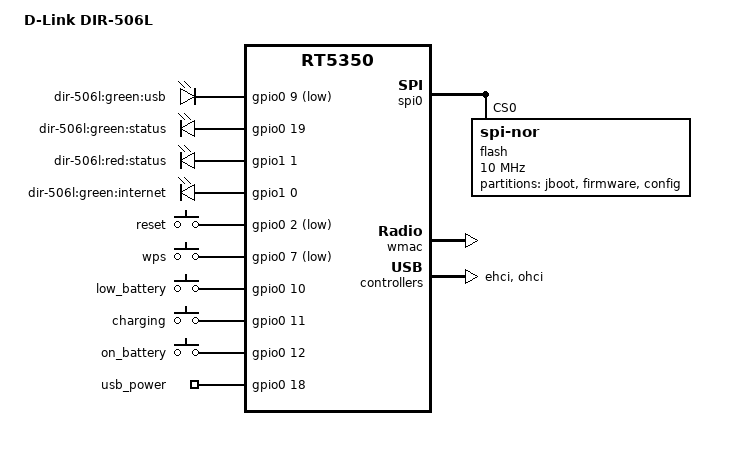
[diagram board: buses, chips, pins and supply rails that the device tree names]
// SPDX-License-Identifier: BSD-2-Clause
/dts-v1/;

#include "rt5350.dtsi"

#include <dt-bindings/gpio/gpio.h>
#include <dt-bindings/input/input.h>

/ {
	compatible = "dlink,dir-506l", "ralink,rt5350-soc";
	model = "D-Link DIR-506L";

	aliases {
		led-boot = &led_status_green;
		led-failsafe = &led_status_red;
		led-running = &led_status_green;
		led-upgrade = &led_status_red;
	};

	gpio-leds {
		compatible = "gpio-leds";

		usb {
			label = "dir-506l:green:usb";
			gpios = <&gpio0 9 GPIO_ACTIVE_LOW>;
		};

		led_status_green: status_green {
			label = "dir-506l:green:status";
			gpios = <&gpio0 19 GPIO_ACTIVE_HIGH>;
		};

		led_status_red: status_red {
			label = "dir-506l:red:status";
			gpios = <&gpio1 1 GPIO_ACTIVE_HIGH>;
		};

		internet {
			label = "dir-506l:green:internet";
			gpios = <&gpio1 0 GPIO_ACTIVE_HIGH>;
		};
	};

	gpio-keys-polled {
		compatible = "gpio-keys-polled";
		poll-interval = <20>;

		reset {
			label = "reset";
			gpios = <&gpio0 2 GPIO_ACTIVE_LOW>;
			linux,code = <KEY_RESTART>;
		};

		wps {
			label = "wps";
			gpios = <&gpio0 7 GPIO_ACTIVE_LOW>;
			linux,code = <KEY_WPS_BUTTON>;
		};

		low_battery {
			label = "low_battery";
			gpios = <&gpio0 10 GPIO_ACTIVE_HIGH>;
			linux,code = <BTN_0>;
		};

		charging {
			label = "charging";
			gpios = <&gpio0 11 GPIO_ACTIVE_HIGH>;
			linux,code = <BTN_1>;
		};

		on_battery {
			label = "on_battery";
			gpios = <&gpio0 12 GPIO_ACTIVE_HIGH>;
			linux,code = <BTN_2>;
		};
	};

	gpio_export {
		compatible = "gpio-export";
		#size-cells = <0>;

		usb_power {
			gpio-export,name = "usb_power";
			gpio-export,output = <1>;
			gpios = <&gpio0 18 GPIO_ACTIVE_HIGH>;
		};
	};
};

&spi0 {
	status = "okay";

	flash@0 {
		compatible = "jedec,spi-nor";
		reg = <0>;
		spi-max-frequency = <10000000>;

		partitions {
			compatible = "fixed-partitions";
			#address-cells = <1>;
			#size-cells = <1>;

			partition@0 {
				label = "jboot";
				reg = <0x0 0x10000>;
				read-only;
			};

			partition@10000 {
				compatible = "amit,jimage";
				label = "firmware";
				reg = <0x10000 0x7e0000>;
			};

			config: partition@7f0000 {
				label = "config";
				reg = <0x7f0000 0x10000>;
				read-only;
			};
		};
	};
};

&gpio1 {
	status = "okay";
};

&pinctrl {
	state_default: pinctrl0 {
		gpio {
			ralink,group = "i2c", "jtag", "uartf", "led";
			ralink,function = "gpio";
		};
	};
};

&ethernet {
	mtd-mac-address = <&config 0xe084>;
	mtd-mac-address-increment = <(1)>;
};

&esw {
	mediatek,portmap = <0x1>;
	mediatek,portdisable = <0x3e>;
	mediatek,led_polarity = <1>;
};

&wmac {
	ralink,mtd-eeprom = <&config 0xe090>;
	ralink,led-polarity = <1>;
	mtd-mac-address = <&config 0xe084>;
	mtd-mac-address-increment = <(1)>;
};

&ehci {
	status = "okay";
};

&ohci {
	status = "okay";
};
